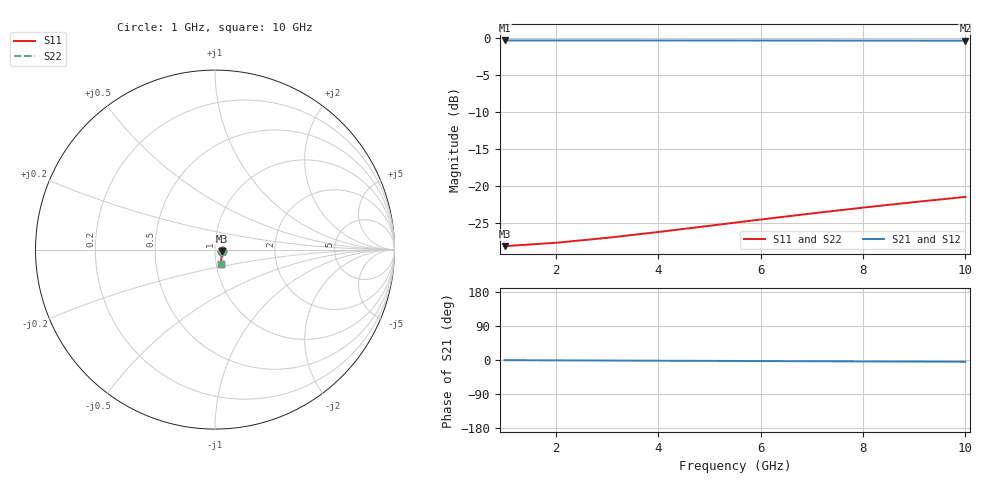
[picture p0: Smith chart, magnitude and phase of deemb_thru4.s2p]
! Created Tue Nov  2 11:41:28 2021
# hz S ma R 50
! 2 Port Network Data from SP1.SP block
! freq  magS11  angS11  magS21  angS21  magS12  angS12  magS22  angS22
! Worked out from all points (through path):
!   10 points, 1 GHz to 10 GHz, reference 50 ohm
!   highest |S21| = -0.34 dB at 1 GHz (marker M1); lowest = -0.4 dB at 10 GHz (marker M2)
!   lowest |S11| = -28.1 dB at 1 GHz (marker M3), VSWR 1.08, Z = 54 - j0.849 ohm
!   |S11| at or under -10 dB: start of sweep to end of sweep
!   |S22| runs from -28.1 to -21.5 dB; largest |S21 - S12| = 0
1e9  0.03919 -11.6  0.9615 -0.5  0.9615 -0.5  0.03919 -11.6
2e9  0.04131 -22.3  0.9614 -0.9  0.9614 -0.9  0.04131 -22.3
3e9  0.04461 -31.9  0.9612 -1.4  0.9612 -1.4  0.04461 -31.9
4e9  0.04885 -40.0  0.961 -1.9  0.961 -1.9  0.04885 -40.0
5e9  0.05381 -46.8  0.9607 -2.3  0.9607 -2.3  0.05381 -46.8
6e9  0.05931 -52.4  0.9604 -2.8  0.9604 -2.8  0.05931 -52.4
7e9  0.0652 -57.2  0.96 -3.3  0.96 -3.3  0.0652 -57.2
8e9  0.07139 -61.2  0.9595 -3.7  0.9595 -3.7  0.07139 -61.2
9e9  0.07779 -64.7  0.959 -4.2  0.959 -4.2  0.07779 -64.7
1e10  0.08436 -67.6  0.9583 -4.7  0.9583 -4.7  0.08436 -67.6
